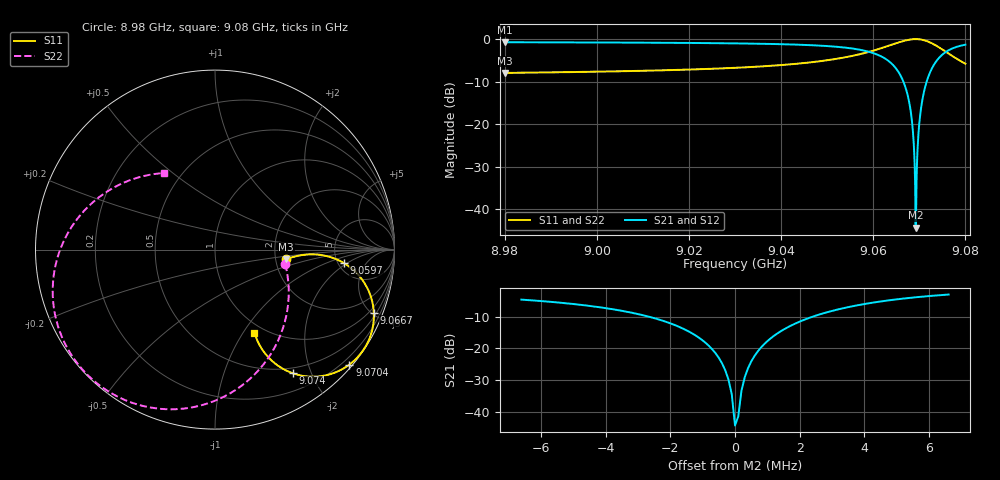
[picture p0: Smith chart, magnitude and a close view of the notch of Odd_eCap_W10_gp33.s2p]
! Sonnet Data File
! From: emgraph Version : 16.52
! From Project: Resonator2_extremeCap2
! Data is De-embedded
! Data File Written: 10/10/2017 08:27:13
!< HDATE 10/10/2017 01:06:54
!< MDATE 10/10/2017 01:06:54
!< PARAMS
!< Pwid1 = 2000.0
!< Pwid2 = 2000.0
!< Air_gap = 6.0
!< Width = 10.0
!< Gap = 33.0
!< END PARAMS
# GHZ S MA R 35.98000
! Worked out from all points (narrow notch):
!   1001 points, 8.98 GHz to 9.08 GHz, reference 35.98 ohm
!   highest |S21| = -0.75 dB at 8.98 GHz (marker M1); lowest = -44.3 dB at 9.0692 GHz (marker M2)
!   notch at M2: 43.3 dB deep, 1.11 MHz wide at half that depth
!   lowest |S11| = -8.0 dB at 8.98 GHz (marker M3), VSWR 2.33, Z = 82.3 - j10.2 ohm
!   |S11| at or under -10 dB: nowhere
!   |S22| runs from -8.0 to 0.0 dB; largest |S21 - S12| = 0
!   S11 on the Smith chart (normalised r, x): 8.98 GHz: 2.29, -0.28; 9.0597 GHz: 5.62, -1.76; 9.0667 GHz: 0.68, -5.14; 9.0704 GHz: 0.06, -2.71; 9.074 GHz: 0.42, -1.73; 9.08 GHz: 0.90, -1.13
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8.98  0.3994 -7.5  0.9167 -99.6  0.9167 -99.6  0.3994 -11.6
!< P1 F=8.98 Eeff=(5.37116343 -2.3769e-5) Z0=(35.9716001 8.05996e-5) R=0.0 C=0.0
!< P2 F=8.98 Eeff=(5.37116343 -2.3769e-5) Z0=(35.9716001 8.05996e-5) R=0.0 C=0.0
8.9967  0.4103 -6.9  0.9119 -100.8  0.9119 -100.8  0.4103 -14.7
9.0134  0.4274 -5.9  0.904 -102.5  0.904 -102.5  0.4273 -19.1
9.03  0.4585 -4.5  0.8886 -105.5  0.8886 -105.5  0.4584 -26.5
9.0467  0.534 -2.9  0.8453 -112.1  0.8453 -112.1  0.5337 -41.4
9.0547  0.6212 -3.3  0.7832 -119.5  0.7832 -119.5  0.6207 -55.9
9.0597  0.7219 -6.0  0.6912 -128.4  0.6912 -128.4  0.7211 -71.1
9.0634  0.8353 -11.4  0.548 -139.9  0.548 -139.9  0.8342 -88.7
9.0667  0.9522 -21.7  0.3003 -156.5  0.3003 -156.5  0.9507 -112.3
9.0675  0.9747 -25.2  0.2156 -161.7  0.2156 -161.7  0.9731 -119.4
9.0681  0.9875 -28.1  0.1456 -165.6  0.1456 -165.6  0.9857 -125.2
9.0685  0.9934 -30.1  0.09621 -168.1  0.09621 -168.1  0.9917 -129.2
9.0689  0.997 -32.2  0.04496 -169.3  0.04496 -169.3  0.9952 -133.3
9.0692  0.998 -33.9  0.006066 -147.9  0.006066 -147.9  0.9961 -136.5
9.0696  0.9968 -36.1  0.04836 -1.8  0.04836 -1.8  0.9949 -140.8
9.07  0.9926 -38.3  0.1027 -3.3  0.1027 -3.3  0.9907 -145.1
9.0704  0.9855 -40.5  0.1572 -6.1  0.1572 -6.1  0.9835 -149.6
9.071  0.9691 -43.9  0.2381 -10.8  0.2381 -10.8  0.9671 -156.2
9.0718  0.9377 -48.2  0.3415 -17.1  0.3415 -17.1  0.9357 -165.1
9.074  0.8148 -57.8  0.5769 -33.3  0.5769 -33.3  0.8128 171.7
9.0766  0.6608 -63.9  0.749 -48.0  0.749 -48.0  0.6591 148.2
9.08  0.5128 -64.6  0.8577 -60.6  0.8577 -60.6  0.5115 123.5
